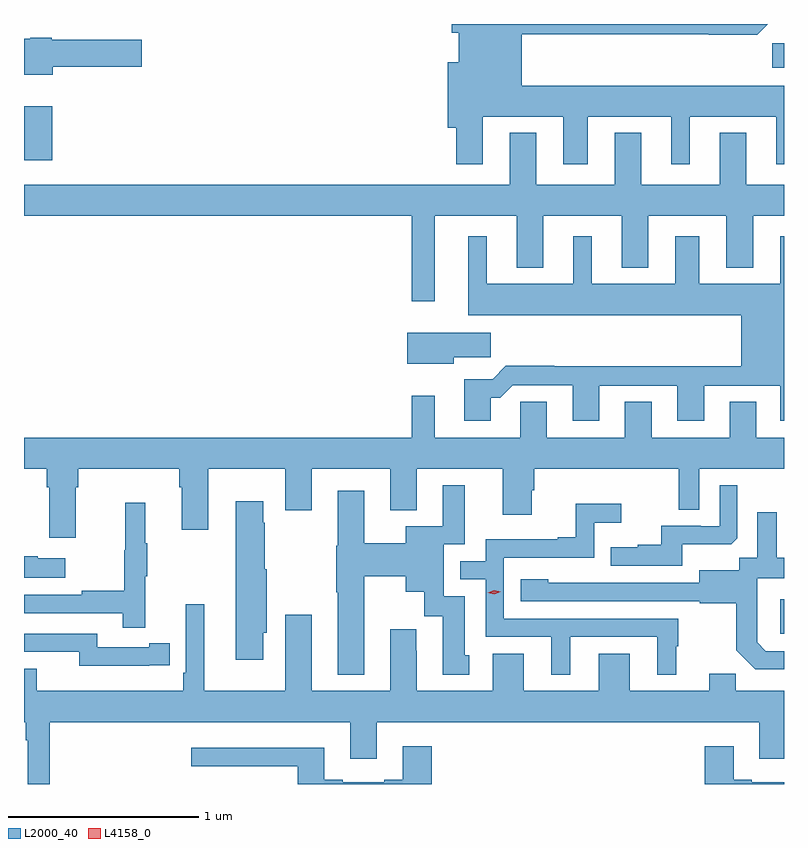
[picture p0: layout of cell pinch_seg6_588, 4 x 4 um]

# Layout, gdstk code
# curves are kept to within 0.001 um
import gdstk
lib = gdstk.Library(unit=1e-6, precision=1e-09)
def R(c, l, rs):  # rectangles x0, y0, x1, y1
    for r in rs: c.add(gdstk.rectangle(r[:2], r[2:], *l))
def P(c, l, *ps):  # polygons
    for p in ps: c.add(gdstk.Polygon(p, *l))
L2000_40 = (2000, 40)
L4158_0 = (4158, 0)

pinch_seg6_588 = lib.new_cell('pinch_seg6_588')
R(pinch_seg6_588, L2000_40, [(398.861,970.446,398.882,970.627), (394.882,972.936,395.03,973.222), (398.82,973.424,398.882,973.553)])
P(pinch_seg6_588, L2000_40, [(397.297,973.166),(397.721,973.166),(397.721,972.915),(397.849,972.915),(397.849,973.166),(398.288,973.166),(398.288,972.915),(398.386,972.915),(398.386,973.166),(398.84,973.166),(398.84,972.915),(398.882,972.915),(398.882,973.33),(397.501,973.33),(397.501,973.6),(398.485,973.6),(398.485,973.598),(398.741,973.598),(398.797,973.654),(397.133,973.654),(397.133,973.608),(397.169,973.608),(397.169,973.453),(397.112,973.453),(397.112,973.109),(397.157,973.109),(397.157,972.915),(397.297,972.915)],
  [(395.032,973.43),(395.503,973.43),(395.503,973.572),(395.028,973.572),(395.028,973.582),(394.914,973.582),(394.914,973.576),(394.882,973.576),(394.882,973.388),(395.032,973.388)],
  [(397.045,972.644),(397.475,972.644),(397.475,972.371),(397.615,972.371),(397.615,972.644),(398.027,972.644),(398.027,972.371),(398.167,972.371),(398.167,972.644),(398.579,972.644),(398.579,972.371),(398.719,972.371),(398.719,972.644),(398.882,972.644),(398.882,972.808),(398.683,972.808),(398.683,973.081),(398.543,973.081),(398.543,972.808),(398.131,972.808),(398.131,973.081),(397.991,973.081),(397.991,972.808),(397.579,972.808),(397.579,973.081),(397.439,973.081),(397.439,972.808),(394.882,972.808),(394.882,972.644),(396.924,972.644),(396.924,972.195),(397.045,972.195)],
  [(397.339,971.687),(397.388,971.687),(397.455,971.754),(397.769,971.754),(397.769,971.565),(397.909,971.565),(397.909,971.751),(398.321,971.751),(398.321,971.565),(398.461,971.565),(398.461,971.751),(398.861,971.751),(398.861,971.565),(398.882,971.565),(398.882,972.538),(398.861,972.538),(398.861,972.286),(398.437,972.286),(398.437,972.538),(398.309,972.538),(398.309,972.286),(397.87,972.286),(397.87,972.538),(397.772,972.538),(397.772,972.286),(397.318,972.286),(397.318,972.538),(397.22,972.538),(397.22,972.122),(398.657,972.122),(398.657,971.852),(397.673,971.852),(397.673,971.855),(397.418,971.855),(397.348,971.785),(397.199,971.785),(397.199,971.565),(397.339,971.565)],
  [(397.144,971.899),(397.339,971.899),(397.339,972.028),(396.9,972.028),(396.9,971.867),(397.144,971.867)],
  [(394.882,971.312),(395.003,971.312),(395.003,971.216),(395.015,971.216),(395.015,970.95),(395.155,970.95),(395.155,971.216),(395.168,971.216),(395.168,971.312),(395.699,971.312),(395.699,971.216),(395.711,971.216),(395.711,970.992),(395.851,970.992),(395.851,971.312),(396.257,971.312),(396.257,971.094),(396.397,971.094),(396.397,971.312),(396.809,971.312),(396.809,971.096),(396.949,971.096),(396.949,971.312),(397.403,971.312),(397.403,971.07),(397.555,971.07),(397.555,971.199),(397.568,971.199),(397.568,971.312),(398.328,971.312),(398.328,971.098),(398.436,971.098),(398.436,971.312),(398.882,971.312),(398.882,971.476),(398.737,971.476),(398.737,971.666),(398.597,971.666),(398.597,971.476),(398.185,971.476),(398.185,971.666),(398.045,971.666),(398.045,971.476),(397.633,971.476),(397.633,971.666),(397.494,971.666),(397.494,971.476),(397.045,971.476),(397.045,971.698),(396.924,971.698),(396.924,971.476),(394.882,971.476)],
  [(398.347,970.916),(398.605,970.916),(398.637,970.947),(398.637,971.227),(398.544,971.227),(398.544,971.01),(398.444,971.01),(398.444,971.013),(398.237,971.013),(398.237,970.912),(398.113,970.912),(398.113,970.9),(397.969,970.9),(397.969,970.803),(398.347,970.803)],
  [(396.673,970.748),(396.89,970.748),(396.89,970.667),(396.989,970.667),(396.989,970.536),(397.085,970.536),(397.085,970.23),(397.225,970.23),(397.225,970.332),(397.201,970.332),(397.201,970.641),(397.092,970.641),(397.092,970.917),(397.201,970.917),(397.201,971.227),(397.085,971.227),(397.085,971.011),(396.89,971.011),(396.89,970.92),(396.673,970.92),(396.673,971.197),(396.533,971.197),(396.533,970.908),(396.526,970.908),(396.526,970.664),(396.533,970.664),(396.533,970.229),(396.673,970.229)],
  [(396.142,970.449),(396.16,970.449),(396.16,970.785),(396.15,970.785),(396.15,971.03),(396.142,971.03),(396.142,971.143),(395.996,971.143),(395.996,970.308),(396.142,970.308)],
  [(395.519,970.747),(395.53,970.747),(395.53,970.921),(395.519,970.921),(395.519,971.134),(395.416,971.134),(395.416,970.884),(395.409,970.884),(395.409,970.67),(395.185,970.67),(395.185,970.65),(394.882,970.65),(394.882,970.554),(395.401,970.554),(395.401,970.476),(395.519,970.476)],
  [(397.756,970.428),(398.216,970.428),(398.216,970.229),(398.314,970.229),(398.314,970.38),(398.326,970.38),(398.326,970.524),(397.407,970.524),(397.407,970.845),(397.884,970.845),(397.884,971.03),(398.026,971.03),(398.026,971.129),(397.786,971.129),(397.786,970.954),(397.691,970.954),(397.691,970.941),(397.311,970.941),(397.311,970.827),(397.178,970.827),(397.178,970.731),(397.311,970.731),(397.311,970.428),(397.658,970.428),(397.658,970.229),(397.756,970.229)],
  [(398.882,970.353),(398.787,970.353),(398.74,970.4),(398.74,970.495),(398.742,970.495),(398.742,970.736),(398.882,970.736),(398.882,970.846),(398.845,970.846),(398.845,971.083),(398.741,971.083),(398.741,970.844),(398.646,970.844),(398.646,970.78),(398.435,970.78),(398.435,970.713),(397.641,970.714),(397.641,970.732),(397.497,970.732),(397.497,970.617),(398.439,970.617),(398.439,970.605),(398.631,970.605),(398.631,970.359),(398.731,970.259),(398.882,970.259)],
  [(395.098,970.843),(394.955,970.843),(394.955,970.853),(394.882,970.853),(394.882,970.739),(395.098,970.739)],
  [(394.948,970.261),(394.882,970.261),(394.882,969.98),(394.89,969.98),(394.89,969.884),(394.902,969.884),(394.902,969.654),(395.018,969.654),(395.018,969.98),(396.599,969.98),(396.599,969.786),(396.739,969.786),(396.739,969.98),(398.753,969.98),(398.753,969.786),(398.882,969.786),(398.882,970.144),(398.627,970.144),(398.627,970.235),(398.489,970.235),(398.489,970.144),(398.071,970.144),(398.071,970.339),(397.907,970.339),(397.907,970.144),(397.513,970.144),(397.513,970.339),(397.349,970.339),(397.349,970.144),(396.949,970.144),(396.949,970.355),(396.946,970.355),(396.946,970.468),(396.809,970.468),(396.809,970.144),(396.397,970.144),(396.397,970.546),(396.257,970.546),(396.257,970.144),(395.83,970.144),(395.83,970.6),(395.733,970.6),(395.733,970.24),(395.72,970.24),(395.72,970.144),(394.948,970.144)],
  [(395.54,970.278),(395.648,970.278),(395.648,970.394),(395.54,970.394),(395.54,970.374),(395.268,970.374),(395.268,970.446),(394.882,970.446),(394.882,970.35),(395.172,970.35),(395.172,970.277),(395.54,970.277)],
  [(397.028,969.853),(396.875,969.853),(396.875,969.676),(396.779,969.676),(396.779,969.663),(396.559,969.663),(396.559,969.676),(396.463,969.676),(396.463,969.844),(395.763,969.844),(395.763,969.747),(396.323,969.747),(396.323,969.654),(397.028,969.654)],
  [(398.882,969.663),(398.713,969.663),(398.713,969.676),(398.617,969.676),(398.617,969.853),(398.465,969.853),(398.465,969.654),(398.882,969.654)])
P(pinch_seg6_588, L4158_0, [(397.357,970.653),(397.322,970.66),(397.322,970.66),(397.322,970.661),(397.356,970.673),(397.391,970.665),(397.391,970.665),(397.391,970.665)])

lib.write_gds('pinch_seg6_588.gds')
